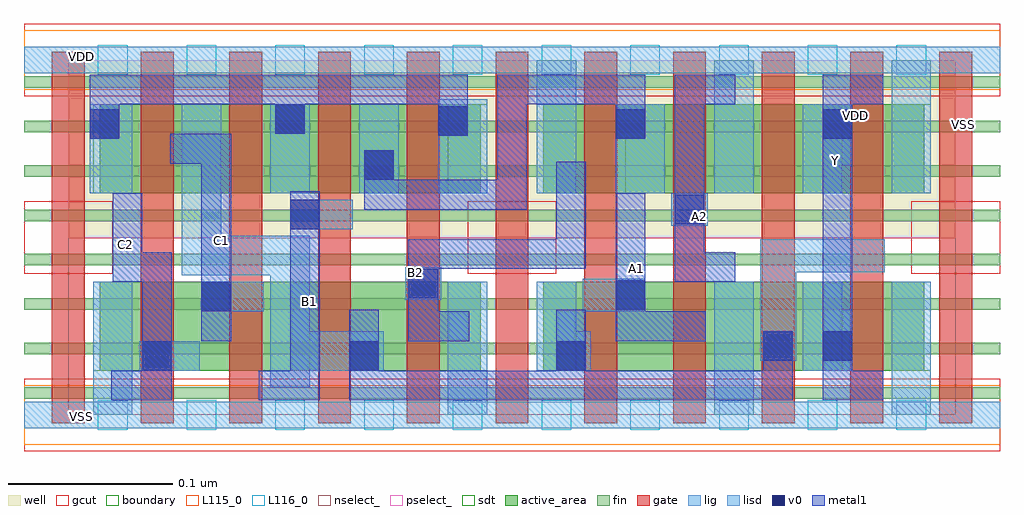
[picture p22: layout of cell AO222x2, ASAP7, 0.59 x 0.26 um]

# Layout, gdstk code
import gdstk
lib = gdstk.Library(unit=1e-6, precision=2.5e-10)
def R(c, l, rs):  # rectangles x0, y0, x1, y1
    for r in rs: c.add(gdstk.rectangle(r[:2], r[2:], *l))
def A(c, l, x, y, w, h, nx, ny, dx, dy):  # array of equal rectangles
    R(c, l, [(x+i*dx, y+j*dy, x+i*dx+w, y+j*dy+h) for i in range(nx) for j in range(ny)])
def P(c, l, *ps):  # polygons
    for p in ps: c.add(gdstk.Polygon(p, *l))
well = (1, 0)
fin = (2, 0)
gate = (7, 0)
gcut = (10, 0)
active_area = (11, 0)
nselect_ = (12, 0)
pselect_ = (13, 0)
lig = (16, 0)
lisd = (17, 0)
v0 = (18, 0)
metal1 = (19, 0)
sdt = (88, 0)
boundary = (100, 0)
L115_0 = (115, 0)
L116_0 = (116, 0)

ao222x2 = lib.new_cell('AO222x2')
R(ao222x2, well, [(0,0.108,0.54,0.216)])
A(ao222x2, fin, -0.027, 0.01, 0.594, 0.007, 1, 8, 0, 0.027)
A(ao222x2, gate, -0.01, -0.005, 0.02, 0.226, 10, 1, 0.054, 0)
R(ao222x2, gate, [(0.476,-0.005,0.496,0.221), (0.53,-0.005,0.55,0.221), (0.53,-0.005,0.55,0.221), (0.53,-0.005,0.55,0.221)])
A(ao222x2, gcut, -0.027, 0.086, 0.054, 0.044, 3, 1, 0.27, 0)
R(ao222x2, gcut, [(-0.027,-0.022,0.567,0.022), (-0.027,0.194,0.567,0.238)])
R(ao222x2, active_area, [(0.019,0.027,0.251,0.081), (0.289,0.027,0.521,0.081), (0.019,0.135,0.251,0.189), (0.289,0.135,0.521,0.189)])
R(ao222x2, nselect_, [(0,0,0.54,0.108)])
R(ao222x2, pselect_, [(0,0.108,0.54,0.216)])
R(ao222x2, lig, [(-0.027,-0.008,0.567,0.008), (0.043,0.027,0.08,0.045), (0.421,0.033,0.443,0.107), (0.081,0.063,0.119,0.081), (0.313,0.063,0.351,0.083), (0.205,0.07,0.227,0.09), (0.443,0.087,0.497,0.107), (0.135,0.113,0.173,0.131), (0.367,0.115,0.389,0.135), (-0.027,0.208,0.567,0.224)])
A(ao222x2, lisd, 0.285, 0.135, 0.024, 0.081, 3, 1, 0.108, 0)
R(ao222x2, lisd, [(0.015,0,0.039,0.081), (0.231,0,0.255,0.081), (0.393,0,0.417,0.081), (0.501,0,0.525,0.081), (0.123,0.017,0.147,0.085), (0.147,0.027,0.192,0.051), (0.285,0.027,0.309,0.081), (0.285,0.027,0.318,0.051), (0.069,0.085,0.093,0.189), (0.069,0.085,0.147,0.109), (0.013,0.135,0.039,0.189), (0.123,0.135,0.147,0.189), (0.177,0.135,0.201,0.189), (0.225,0.135,0.255,0.192), (0.333,0.135,0.363,0.189)])
P(ao222x2, lisd, [(0.477,0.064),(0.471,0.064),(0.471,0.081),(0.447,0.081),(0.447,0.027),(0.477,0.027)],
  [(0.477,0.189),(0.447,0.189),(0.447,0.135),(0.471,0.135),(0.471,0.152),(0.477,0.152)])
A(ao222x2, v0, 0.045, 0.027, 0.018, 0.018, 3, 1, 0.126, 0)
R(ao222x2, v0, [(0.423,0.033,0.441,0.051), (0.459,0.033,0.477,0.051), (0.081,0.063,0.099,0.081), (0.333,0.064,0.351,0.082), (0.207,0.071,0.225,0.089), (0.135,0.113,0.153,0.131), (0.369,0.116,0.387,0.134), (0.18,0.143,0.198,0.161), (0.013,0.168,0.031,0.186), (0.333,0.168,0.351,0.186), (0.459,0.168,0.477,0.186), (0.225,0.17,0.243,0.188), (0.126,0.171,0.144,0.189)])
R(ao222x2, metal1, [(0.026,0.009,0.063,0.027), (0.045,0.009,0.063,0.099), (0.116,0.009,0.153,0.027), (0.135,0.009,0.153,0.136), (0.171,0.009,0.189,0.064), (0.189,0.009,0.441,0.027), (0.297,0.009,0.315,0.064), (0.459,0.009,0.496,0.027), (0.459,0.009,0.477,0.207), (0.423,0.027,0.441,0.051), (0.081,0.045,0.099,0.171), (0.207,0.045,0.244,0.063), (0.207,0.045,0.225,0.107), (0.333,0.045,0.388,0.063), (0.333,0.045,0.351,0.135), (0.027,0.081,0.045,0.135), (0.369,0.081,0.406,0.099), (0.369,0.081,0.387,0.207), (0.207,0.089,0.315,0.107), (0.297,0.089,0.315,0.154), (0.18,0.125,0.198,0.161), (0.18,0.125,0.279,0.143), (0.261,0.125,0.279,0.207), (0.062,0.153,0.099,0.171), (0.013,0.168,0.031,0.207), (0.333,0.168,0.351,0.207), (0.225,0.17,0.243,0.207), (0.126,0.171,0.144,0.207), (0.018,0.189,0.243,0.207), (0.261,0.189,0.351,0.207), (0.369,0.189,0.406,0.207), (0.459,0.189,0.496,0.207)])
A(ao222x2, sdt, 0.015, 0.027, 0.024, 0.054, 3, 1, 0.108, 0)
A(ao222x2, sdt, 0.393, 0.027, 0.024, 0.054, 3, 1, 0.054, 0)
A(ao222x2, sdt, 0.015, 0.135, 0.024, 0.054, 10, 1, 0.054, 0)
R(ao222x2, sdt, [(0.285,0.027,0.309,0.081)])
R(ao222x2, boundary, [(0,0,0.54,0.216)])
R(ao222x2, L115_0, [(-0.027,-0.018,0.567,0.018), (-0.027,0.198,0.567,0.234)])
A(ao222x2, L116_0, 0.018, -0.009, 0.018, 0.018, 10, 2, 0.054, 0.216)
ao222x2.add(gdstk.Label('Y', (0.467,0.155), layer=19, texttype=251))
ao222x2.add(gdstk.Label('B1', (0.147,0.069), layer=19, texttype=251))
ao222x2.add(gdstk.Label('A2', (0.384,0.121), layer=19, texttype=251))
ao222x2.add(gdstk.Label('A1', (0.346,0.089), layer=19, texttype=251))
ao222x2.add(gdstk.Label('B2', (0.211,0.087), layer=19, texttype=251))
ao222x2.add(gdstk.Label('C2', (0.035,0.104), layer=19, texttype=251))
ao222x2.add(gdstk.Label('C1', (0.093,0.106), layer=19, texttype=251))
ao222x2.add(gdstk.Label('VSS', (0.545,0.177), layer=3, texttype=251))
ao222x2.add(gdstk.Label('VDD', (0.479,0.182), layer=1, texttype=251))
ao222x2.add(gdstk.Label('VDD', (0.008,0.218), layer=115, texttype=251))
ao222x2.add(gdstk.Label('VSS', (0.008,-0.001), layer=115, texttype=251))

lib.write_gds('AO222x2.gds')
